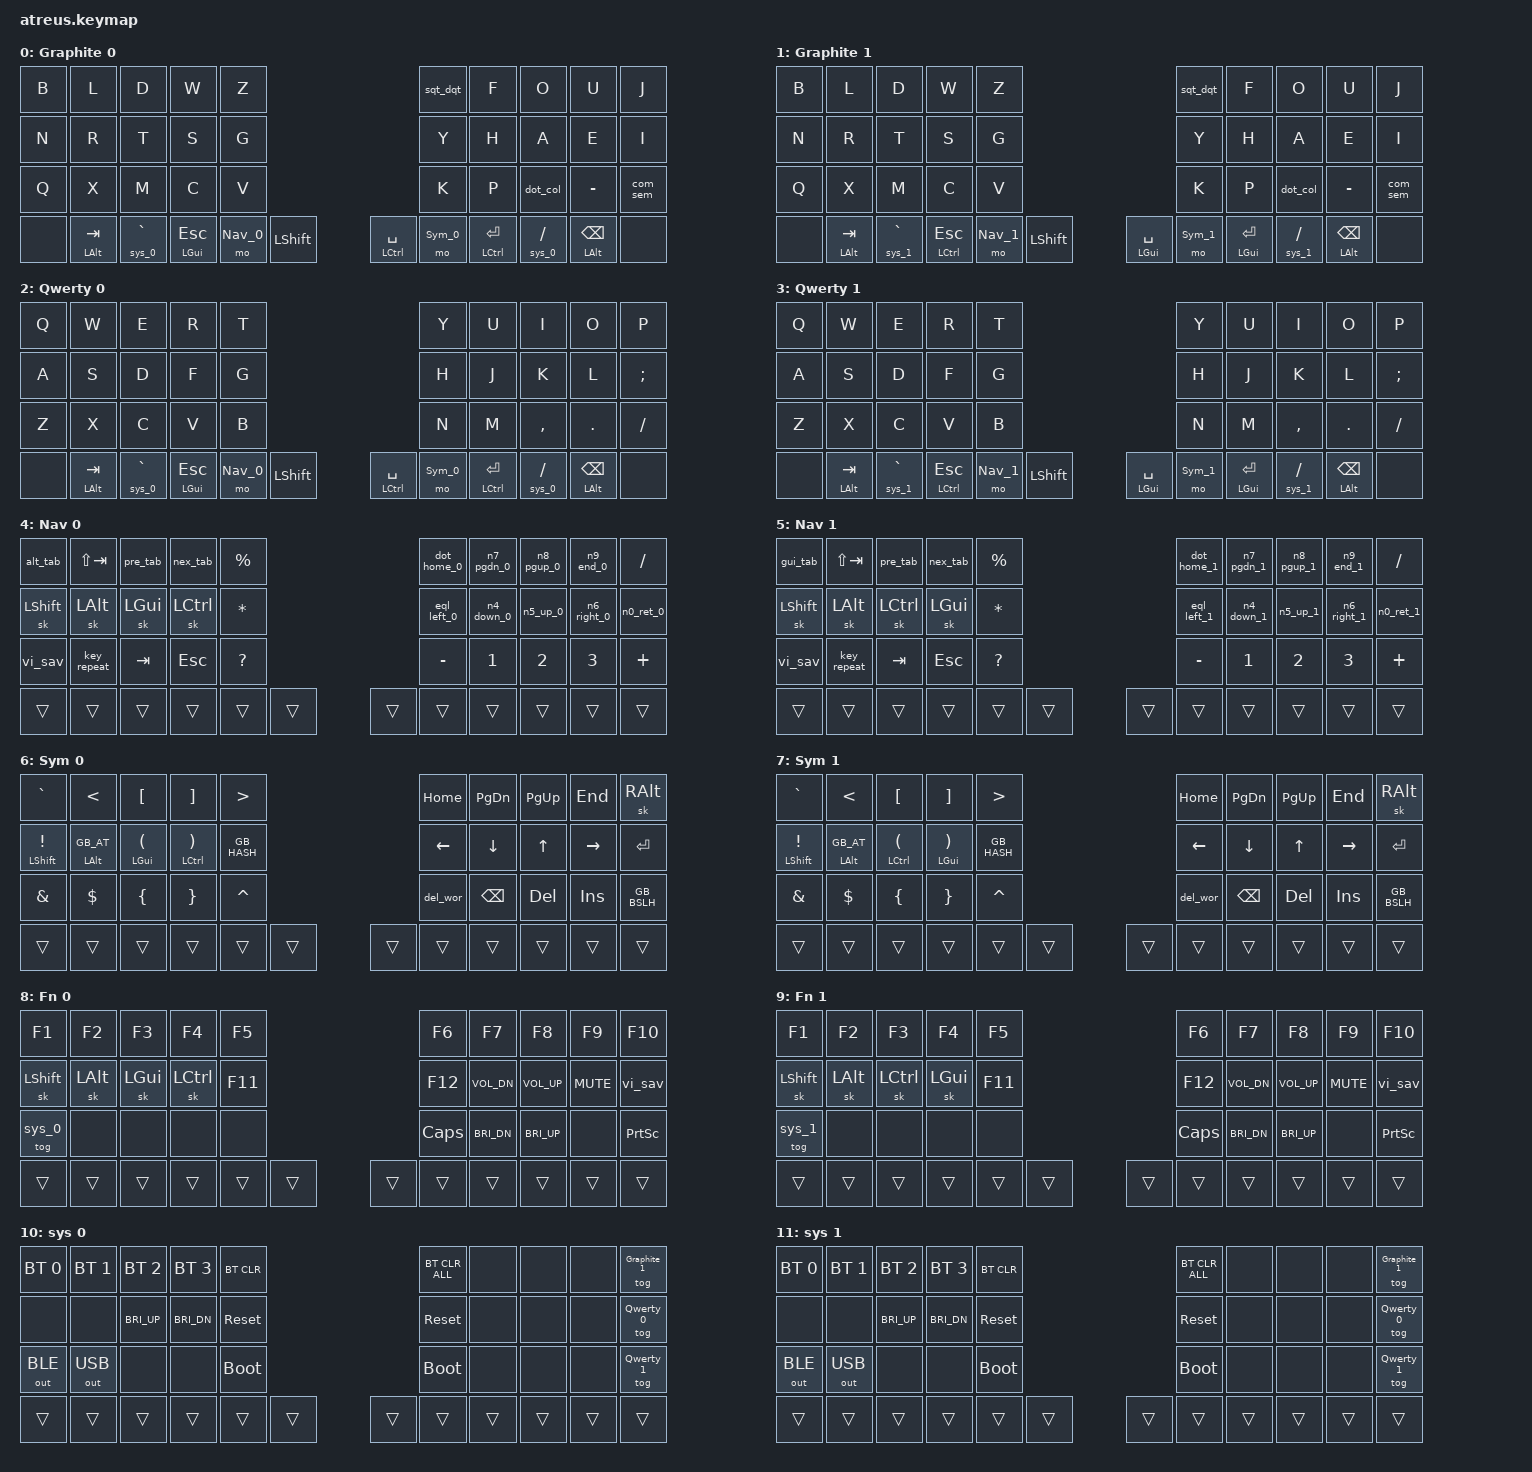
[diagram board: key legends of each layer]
// Auto-generated ZMK Keymap by Python generator system. DO NOT EDIT DIRECTLY.
#include <dt-bindings/zmk/keys.h>
#include <behaviors.dtsi>
#include <dt-bindings/zmk/bt.h>
#include <dt-bindings/zmk/outputs.h>
#include <zmk-helpers/helper.h>
#include "keys_en_gb_extended.h"

#define PRIOR_IDLE_MS 160
#define QUICK_TAP_MS 175
#define TAPPING_TERM 200

#undef COMBO_TERM
#define COMBO_TERM 50

#define KEYS_L 0 1 2 3 4 10 11 12 13 14 20 21 22 23 24
#define KEYS_R 5 6 7 8 9 15 16 17 18 19 25 26 27 28 29
#define THUMBS 30 31 32 33 34 35 36 37 38 39 40 41

/* Base Behavior Config */
&sk {
    release-after-ms = <1000>;
    quick-release;
};

&lt {
    tapping-term-ms = <TAPPING_TERM>;
    quick-tap-ms = <QUICK_TAP_MS>;
    flavor = "hold-preferred";
};

&mt {
    tapping-term-ms = <TAPPING_TERM>;
    quick-tap-ms = <QUICK_TAP_MS>;
    flavor = "hold-preferred";
};

&caps_word {
    continue-list = <UNDERSCORE MINUS BACKSPACE DELETE>;
    /delete-property/ ignore-modifiers;
};

/* Layer Ids */
#define Graphite_0 0
#define Graphite_1 1
#define Qwerty_0 2
#define Qwerty_1 3
#define Nav_0 4
#define Nav_1 5
#define Sym_0 6
#define Sym_1 7
#define Fn_0 8
#define Fn_1 9
#define sys_0 10
#define sys_1 11

/ {
    macros {
        uc_deg: uc_deg {
            compatible = "zmk,behavior-macro";
            #binding-cells = <0>;
            bindings = <&kp RALT>, <&kp O>, <&kp O>;
        };
        uc_gbp: uc_gbp {
            compatible = "zmk,behavior-macro";
            #binding-cells = <0>;
            bindings = <&kp RALT>, <&kp LS(L)>, <&kp EQL>;
        };
        uc_eur: uc_eur {
            compatible = "zmk,behavior-macro";
            #binding-cells = <0>;
            bindings = <&kp RALT>, <&kp C>, <&kp EQL>;
        };
        uc_rup: uc_rup {
            compatible = "zmk,behavior-macro";
            #binding-cells = <0>;
            bindings = <&kp RALT>, <&kp R>, <&kp EQL>;
        };
        vi_sav: vi_sav {
            compatible = "zmk,behavior-macro";
            #binding-cells = <0>;
            wait-ms = <20>;
            bindings = <&kp ESC>, <&kp COLON>, <&kp W>, <&kp RET>;
        };
        find: find {
            compatible = "zmk,behavior-macro";
            #binding-cells = <0>;
            bindings = <&kp LC(F)>;
        };
        pre_wor: pre_wor {
            compatible = "zmk,behavior-macro";
            #binding-cells = <0>;
            bindings = <&kp LC(LEFT)>;
        };
        nex_wor: nex_wor {
            compatible = "zmk,behavior-macro";
            #binding-cells = <0>;
            bindings = <&kp LC(RIGHT)>;
        };
        pre_tab: pre_tab {
            compatible = "zmk,behavior-macro";
            #binding-cells = <0>;
            bindings = <&kp LC(LS(TAB))>;
        };
        nex_tab: nex_tab {
            compatible = "zmk,behavior-macro";
            #binding-cells = <0>;
            bindings = <&kp LC(TAB)>;
        };
        pre_dsk: pre_dsk {
            compatible = "zmk,behavior-macro";
            #binding-cells = <0>;
            bindings = <&kp LC(LG(LEFT))>;
        };
        nex_dsk: nex_dsk {
            compatible = "zmk,behavior-macro";
            #binding-cells = <0>;
            bindings = <&kp LC(LG(RIGHT))>;
        };
        cut: cut {
            compatible = "zmk,behavior-macro";
            #binding-cells = <0>;
            bindings = <&kp LC(X)>;
        };
        copy: copy {
            compatible = "zmk,behavior-macro";
            #binding-cells = <0>;
            bindings = <&kp LC(C)>;
        };
        paste: paste {
            compatible = "zmk,behavior-macro";
            #binding-cells = <0>;
            bindings = <&kp LC(V)>;
        };
        half_dn: half_dn {
            compatible = "zmk,behavior-macro";
            #binding-cells = <0>;
            bindings = <&kp LC(D)>;
        };
        half_up: half_up {
            compatible = "zmk,behavior-macro";
            #binding-cells = <0>;
            bindings = <&kp LC(U)>;
        };
        del_wor: del_wor {
            compatible = "zmk,behavior-macro";
            #binding-cells = <0>;
            bindings = <&kp LC(BSPC)>;
        };
        macro_LCTL_Nav_0: macro_LCTL_Nav_0 {
            compatible = "zmk,behavior-macro";
            #binding-cells = <0>;
            wait-ms = <0>;
            tap-ms = <0>;
            bindings = <&macro_press &mo Nav_0>, <&macro_press &sk LCTL>, <&macro_pause_for_release>, <&macro_release &sk LCTL>, <&macro_release &mo Nav_0>;
        };
        macro_LGUI_Nav_1: macro_LGUI_Nav_1 {
            compatible = "zmk,behavior-macro";
            #binding-cells = <0>;
            wait-ms = <0>;
            tap-ms = <0>;
            bindings = <&macro_press &mo Nav_1>, <&macro_press &sk LGUI>, <&macro_pause_for_release>, <&macro_release &sk LGUI>, <&macro_release &mo Nav_1>;
        };
        macro_LGUI_Nav_0: macro_LGUI_Nav_0 {
            compatible = "zmk,behavior-macro";
            #binding-cells = <0>;
            wait-ms = <0>;
            tap-ms = <0>;
            bindings = <&macro_press &mo Nav_0>, <&macro_press &sk LGUI>, <&macro_pause_for_release>, <&macro_release &sk LGUI>, <&macro_release &mo Nav_0>;
        };
        macro_LCTL_Nav_1: macro_LCTL_Nav_1 {
            compatible = "zmk,behavior-macro";
            #binding-cells = <0>;
            wait-ms = <0>;
            tap-ms = <0>;
            bindings = <&macro_press &mo Nav_1>, <&macro_press &sk LCTL>, <&macro_pause_for_release>, <&macro_release &sk LCTL>, <&macro_release &mo Nav_1>;
        };
        macro_LALT_Nav_0: macro_LALT_Nav_0 {
            compatible = "zmk,behavior-macro";
            #binding-cells = <0>;
            wait-ms = <0>;
            tap-ms = <0>;
            bindings = <&macro_press &mo Nav_0>, <&macro_press &sk LALT>, <&macro_pause_for_release>, <&macro_release &sk LALT>, <&macro_release &mo Nav_0>;
        };
        macro_LALT_Nav_1: macro_LALT_Nav_1 {
            compatible = "zmk,behavior-macro";
            #binding-cells = <0>;
            wait-ms = <0>;
            tap-ms = <0>;
            bindings = <&macro_press &mo Nav_1>, <&macro_press &sk LALT>, <&macro_pause_for_release>, <&macro_release &sk LALT>, <&macro_release &mo Nav_1>;
        };
        macro_LSHFT_Nav_0: macro_LSHFT_Nav_0 {
            compatible = "zmk,behavior-macro";
            #binding-cells = <0>;
            wait-ms = <0>;
            tap-ms = <0>;
            bindings = <&macro_press &mo Nav_0>, <&macro_press &sk LSHFT>, <&macro_pause_for_release>, <&macro_release &sk LSHFT>, <&macro_release &mo Nav_0>;
        };
        macro_LSHFT_Nav_1: macro_LSHFT_Nav_1 {
            compatible = "zmk,behavior-macro";
            #binding-cells = <0>;
            wait-ms = <0>;
            tap-ms = <0>;
            bindings = <&macro_press &mo Nav_1>, <&macro_press &sk LSHFT>, <&macro_pause_for_release>, <&macro_release &sk LSHFT>, <&macro_release &mo Nav_1>;
        };
        macro_LGUI_LCTL_Nav_0: macro_LGUI_LCTL_Nav_0 {
            compatible = "zmk,behavior-macro";
            #binding-cells = <0>;
            wait-ms = <0>;
            tap-ms = <0>;
            bindings = <&macro_press &mo Nav_0>, <&macro_press &sk LGUI>, <&macro_press &sk LCTL>, <&macro_pause_for_release>, <&macro_release &sk LCTL>, <&macro_release &sk LGUI>, <&macro_release &mo Nav_0>;
        };
        macro_LCTL_LGUI_Nav_1: macro_LCTL_LGUI_Nav_1 {
            compatible = "zmk,behavior-macro";
            #binding-cells = <0>;
            wait-ms = <0>;
            tap-ms = <0>;
            bindings = <&macro_press &mo Nav_1>, <&macro_press &sk LCTL>, <&macro_press &sk LGUI>, <&macro_pause_for_release>, <&macro_release &sk LGUI>, <&macro_release &sk LCTL>, <&macro_release &mo Nav_1>;
        };
        macro_LGUI_LALT_Nav_0: macro_LGUI_LALT_Nav_0 {
            compatible = "zmk,behavior-macro";
            #binding-cells = <0>;
            wait-ms = <0>;
            tap-ms = <0>;
            bindings = <&macro_press &mo Nav_0>, <&macro_press &sk LGUI>, <&macro_press &sk LALT>, <&macro_pause_for_release>, <&macro_release &sk LALT>, <&macro_release &sk LGUI>, <&macro_release &mo Nav_0>;
        };
        macro_LCTL_LALT_Nav_1: macro_LCTL_LALT_Nav_1 {
            compatible = "zmk,behavior-macro";
            #binding-cells = <0>;
            wait-ms = <0>;
            tap-ms = <0>;
            bindings = <&macro_press &mo Nav_1>, <&macro_press &sk LCTL>, <&macro_press &sk LALT>, <&macro_pause_for_release>, <&macro_release &sk LALT>, <&macro_release &sk LCTL>, <&macro_release &mo Nav_1>;
        };
        macro_LGUI_LSHFT_Nav_0: macro_LGUI_LSHFT_Nav_0 {
            compatible = "zmk,behavior-macro";
            #binding-cells = <0>;
            wait-ms = <0>;
            tap-ms = <0>;
            bindings = <&macro_press &mo Nav_0>, <&macro_press &sk LGUI>, <&macro_press &sk LSHFT>, <&macro_pause_for_release>, <&macro_release &sk LSHFT>, <&macro_release &sk LGUI>, <&macro_release &mo Nav_0>;
        };
        macro_LCTL_LSHFT_Nav_1: macro_LCTL_LSHFT_Nav_1 {
            compatible = "zmk,behavior-macro";
            #binding-cells = <0>;
            wait-ms = <0>;
            tap-ms = <0>;
            bindings = <&macro_press &mo Nav_1>, <&macro_press &sk LCTL>, <&macro_press &sk LSHFT>, <&macro_pause_for_release>, <&macro_release &sk LSHFT>, <&macro_release &sk LCTL>, <&macro_release &mo Nav_1>;
        };
        macro_LCTL_LALT_Nav_0: macro_LCTL_LALT_Nav_0 {
            compatible = "zmk,behavior-macro";
            #binding-cells = <0>;
            wait-ms = <0>;
            tap-ms = <0>;
            bindings = <&macro_press &mo Nav_0>, <&macro_press &sk LCTL>, <&macro_press &sk LALT>, <&macro_pause_for_release>, <&macro_release &sk LALT>, <&macro_release &sk LCTL>, <&macro_release &mo Nav_0>;
        };
        macro_LGUI_LALT_Nav_1: macro_LGUI_LALT_Nav_1 {
            compatible = "zmk,behavior-macro";
            #binding-cells = <0>;
            wait-ms = <0>;
            tap-ms = <0>;
            bindings = <&macro_press &mo Nav_1>, <&macro_press &sk LGUI>, <&macro_press &sk LALT>, <&macro_pause_for_release>, <&macro_release &sk LALT>, <&macro_release &sk LGUI>, <&macro_release &mo Nav_1>;
        };
        macro_LCTL_LSHFT_Nav_0: macro_LCTL_LSHFT_Nav_0 {
            compatible = "zmk,behavior-macro";
            #binding-cells = <0>;
            wait-ms = <0>;
            tap-ms = <0>;
            bindings = <&macro_press &mo Nav_0>, <&macro_press &sk LCTL>, <&macro_press &sk LSHFT>, <&macro_pause_for_release>, <&macro_release &sk LSHFT>, <&macro_release &sk LCTL>, <&macro_release &mo Nav_0>;
        };
        macro_LGUI_LSHFT_Nav_1: macro_LGUI_LSHFT_Nav_1 {
            compatible = "zmk,behavior-macro";
            #binding-cells = <0>;
            wait-ms = <0>;
            tap-ms = <0>;
            bindings = <&macro_press &mo Nav_1>, <&macro_press &sk LGUI>, <&macro_press &sk LSHFT>, <&macro_pause_for_release>, <&macro_release &sk LSHFT>, <&macro_release &sk LGUI>, <&macro_release &mo Nav_1>;
        };
        macro_LCTL_Sym_0: macro_LCTL_Sym_0 {
            compatible = "zmk,behavior-macro";
            #binding-cells = <0>;
            wait-ms = <0>;
            tap-ms = <0>;
            bindings = <&macro_press &mo Sym_0>, <&macro_press &sk LCTL>, <&macro_pause_for_release>, <&macro_release &sk LCTL>, <&macro_release &mo Sym_0>;
        };
        macro_LGUI_Sym_1: macro_LGUI_Sym_1 {
            compatible = "zmk,behavior-macro";
            #binding-cells = <0>;
            wait-ms = <0>;
            tap-ms = <0>;
            bindings = <&macro_press &mo Sym_1>, <&macro_press &sk LGUI>, <&macro_pause_for_release>, <&macro_release &sk LGUI>, <&macro_release &mo Sym_1>;
        };
        macro_LGUI_Sym_0: macro_LGUI_Sym_0 {
            compatible = "zmk,behavior-macro";
            #binding-cells = <0>;
            wait-ms = <0>;
            tap-ms = <0>;
            bindings = <&macro_press &mo Sym_0>, <&macro_press &sk LGUI>, <&macro_pause_for_release>, <&macro_release &sk LGUI>, <&macro_release &mo Sym_0>;
        };
        macro_LCTL_Sym_1: macro_LCTL_Sym_1 {
            compatible = "zmk,behavior-macro";
            #binding-cells = <0>;
            wait-ms = <0>;
            tap-ms = <0>;
            bindings = <&macro_press &mo Sym_1>, <&macro_press &sk LCTL>, <&macro_pause_for_release>, <&macro_release &sk LCTL>, <&macro_release &mo Sym_1>;
        };
        macro_LALT_Sym_0: macro_LALT_Sym_0 {
            compatible = "zmk,behavior-macro";
            #binding-cells = <0>;
            wait-ms = <0>;
            tap-ms = <0>;
            bindings = <&macro_press &mo Sym_0>, <&macro_press &sk LALT>, <&macro_pause_for_release>, <&macro_release &sk LALT>, <&macro_release &mo Sym_0>;
        };
        macro_LALT_Sym_1: macro_LALT_Sym_1 {
            compatible = "zmk,behavior-macro";
            #binding-cells = <0>;
            wait-ms = <0>;
            tap-ms = <0>;
            bindings = <&macro_press &mo Sym_1>, <&macro_press &sk LALT>, <&macro_pause_for_release>, <&macro_release &sk LALT>, <&macro_release &mo Sym_1>;
        };
        macro_LSHFT_Sym_0: macro_LSHFT_Sym_0 {
            compatible = "zmk,behavior-macro";
            #binding-cells = <0>;
            wait-ms = <0>;
            tap-ms = <0>;
            bindings = <&macro_press &mo Sym_0>, <&macro_press &sk LSHFT>, <&macro_pause_for_release>, <&macro_release &sk LSHFT>, <&macro_release &mo Sym_0>;
        };
        macro_LSHFT_Sym_1: macro_LSHFT_Sym_1 {
            compatible = "zmk,behavior-macro";
            #binding-cells = <0>;
            wait-ms = <0>;
            tap-ms = <0>;
            bindings = <&macro_press &mo Sym_1>, <&macro_press &sk LSHFT>, <&macro_pause_for_release>, <&macro_release &sk LSHFT>, <&macro_release &mo Sym_1>;
        };
        macro_LGUI_LCTL_Sym_0: macro_LGUI_LCTL_Sym_0 {
            compatible = "zmk,behavior-macro";
            #binding-cells = <0>;
            wait-ms = <0>;
            tap-ms = <0>;
            bindings = <&macro_press &mo Sym_0>, <&macro_press &sk LGUI>, <&macro_press &sk LCTL>, <&macro_pause_for_release>, <&macro_release &sk LCTL>, <&macro_release &sk LGUI>, <&macro_release &mo Sym_0>;
        };
        macro_LCTL_LGUI_Sym_1: macro_LCTL_LGUI_Sym_1 {
            compatible = "zmk,behavior-macro";
            #binding-cells = <0>;
            wait-ms = <0>;
            tap-ms = <0>;
            bindings = <&macro_press &mo Sym_1>, <&macro_press &sk LCTL>, <&macro_press &sk LGUI>, <&macro_pause_for_release>, <&macro_release &sk LGUI>, <&macro_release &sk LCTL>, <&macro_release &mo Sym_1>;
        };
        macro_LGUI_LALT_Sym_0: macro_LGUI_LALT_Sym_0 {
            compatible = "zmk,behavior-macro";
            #binding-cells = <0>;
            wait-ms = <0>;
            tap-ms = <0>;
            bindings = <&macro_press &mo Sym_0>, <&macro_press &sk LGUI>, <&macro_press &sk LALT>, <&macro_pause_for_release>, <&macro_release &sk LALT>, <&macro_release &sk LGUI>, <&macro_release &mo Sym_0>;
        };
        macro_LCTL_LALT_Sym_1: macro_LCTL_LALT_Sym_1 {
            compatible = "zmk,behavior-macro";
            #binding-cells = <0>;
            wait-ms = <0>;
            tap-ms = <0>;
            bindings = <&macro_press &mo Sym_1>, <&macro_press &sk LCTL>, <&macro_press &sk LALT>, <&macro_pause_for_release>, <&macro_release &sk LALT>, <&macro_release &sk LCTL>, <&macro_release &mo Sym_1>;
        };
        macro_LGUI_LSHFT_Sym_0: macro_LGUI_LSHFT_Sym_0 {
            compatible = "zmk,behavior-macro";
            #binding-cells = <0>;
            wait-ms = <0>;
            tap-ms = <0>;
            bindings = <&macro_press &mo Sym_0>, <&macro_press &sk LGUI>, <&macro_press &sk LSHFT>, <&macro_pause_for_release>, <&macro_release &sk LSHFT>, <&macro_release &sk LGUI>, <&macro_release &mo Sym_0>;
        };
        macro_LCTL_LSHFT_Sym_1: macro_LCTL_LSHFT_Sym_1 {
            compatible = "zmk,behavior-macro";
            #binding-cells = <0>;
            wait-ms = <0>;
            tap-ms = <0>;
            bindings = <&macro_press &mo Sym_1>, <&macro_press &sk LCTL>, <&macro_press &sk LSHFT>, <&macro_pause_for_release>, <&macro_release &sk LSHFT>, <&macro_release &sk LCTL>, <&macro_release &mo Sym_1>;
        };
        macro_LCTL_LALT_Sym_0: macro_LCTL_LALT_Sym_0 {
            compatible = "zmk,behavior-macro";
            #binding-cells = <0>;
            wait-ms = <0>;
            tap-ms = <0>;
            bindings = <&macro_press &mo Sym_0>, <&macro_press &sk LCTL>, <&macro_press &sk LALT>, <&macro_pause_for_release>, <&macro_release &sk LALT>, <&macro_release &sk LCTL>, <&macro_release &mo Sym_0>;
        };
        macro_LGUI_LALT_Sym_1: macro_LGUI_LALT_Sym_1 {
            compatible = "zmk,behavior-macro";
            #binding-cells = <0>;
            wait-ms = <0>;
            tap-ms = <0>;
            bindings = <&macro_press &mo Sym_1>, <&macro_press &sk LGUI>, <&macro_press &sk LALT>, <&macro_pause_for_release>, <&macro_release &sk LALT>, <&macro_release &sk LGUI>, <&macro_release &mo Sym_1>;
        };
        macro_LCTL_LSHFT_Sym_0: macro_LCTL_LSHFT_Sym_0 {
            compatible = "zmk,behavior-macro";
            #binding-cells = <0>;
            wait-ms = <0>;
            tap-ms = <0>;
            bindings = <&macro_press &mo Sym_0>, <&macro_press &sk LCTL>, <&macro_press &sk LSHFT>, <&macro_pause_for_release>, <&macro_release &sk LSHFT>, <&macro_release &sk LCTL>, <&macro_release &mo Sym_0>;
        };
        macro_LGUI_LSHFT_Sym_1: macro_LGUI_LSHFT_Sym_1 {
            compatible = "zmk,behavior-macro";
            #binding-cells = <0>;
            wait-ms = <0>;
            tap-ms = <0>;
            bindings = <&macro_press &mo Sym_1>, <&macro_press &sk LGUI>, <&macro_press &sk LSHFT>, <&macro_pause_for_release>, <&macro_release &sk LSHFT>, <&macro_release &sk LGUI>, <&macro_release &mo Sym_1>;
        };
    };

    behaviors {
        hrm_l: hrm_l {
            compatible = "zmk,behavior-hold-tap";
            #binding-cells = <2>;
            flavor = "tap-preferred";
            tapping-term-ms = <TAPPING_TERM>;
            quick-tap-ms = <QUICK_TAP_MS>;
            require-prior-idle-ms = <PRIOR_IDLE_MS>;
            bindings = <&kp>, <&kp>;
            hold-trigger-key-positions = <KEYS_R THUMBS>;
        };
        hrm_r: hrm_r {
            compatible = "zmk,behavior-hold-tap";
            #binding-cells = <2>;
            flavor = "tap-preferred";
            tapping-term-ms = <TAPPING_TERM>;
            quick-tap-ms = <QUICK_TAP_MS>;
            require-prior-idle-ms = <PRIOR_IDLE_MS>;
            bindings = <&kp>, <&kp>;
            hold-trigger-key-positions = <KEYS_L THUMBS>;
        };
        hrl_l: hrl_l {
            compatible = "zmk,behavior-hold-tap";
            #binding-cells = <2>;
            flavor = "tap-preferred";
            tapping-term-ms = <TAPPING_TERM>;
            quick-tap-ms = <QUICK_TAP_MS>;
            require-prior-idle-ms = <PRIOR_IDLE_MS>;
            bindings = <&mo>, <&kp>;
            hold-trigger-key-positions = <KEYS_R THUMBS>;
        };
        hrl_r: hrl_r {
            compatible = "zmk,behavior-hold-tap";
            #binding-cells = <2>;
            flavor = "tap-preferred";
            tapping-term-ms = <TAPPING_TERM>;
            quick-tap-ms = <QUICK_TAP_MS>;
            require-prior-idle-ms = <PRIOR_IDLE_MS>;
            bindings = <&mo>, <&kp>;
            hold-trigger-key-positions = <KEYS_L THUMBS>;
        };
        thm: thm {
            compatible = "zmk,behavior-hold-tap";
            #binding-cells = <2>;
            flavor = "tap-preferred";
            tapping-term-ms = <TAPPING_TERM>;
            quick-tap-ms = <QUICK_TAP_MS>;
            require-prior-idle-ms = <PRIOR_IDLE_MS>;
            bindings = <&kp>, <&kp>;
            hold-trigger-key-positions = <KEYS_L KEYS_R THUMBS>;
        };
        thl: thl {
            compatible = "zmk,behavior-hold-tap";
            #binding-cells = <2>;
            flavor = "tap-preferred";
            tapping-term-ms = <TAPPING_TERM>;
            quick-tap-ms = <QUICK_TAP_MS>;
            require-prior-idle-ms = <PRIOR_IDLE_MS>;
            bindings = <&mo>, <&kp>;
            hold-trigger-key-positions = <KEYS_L KEYS_R THUMBS>;
        };
        kt_off: kt_off {
            compatible = "zmk,behavior-key-toggle";
            #binding-cells = <1>;
            toggle-mode = "off";
        };
        kt_on: kt_on {
            compatible = "zmk,behavior-key-toggle";
            #binding-cells = <1>;
            toggle-mode = "on";
        };
        bsdel_0: bsdel_0 {
            compatible = "zmk,behavior-mod-morph";
            #binding-cells = <0>;
            bindings = <&kp BACKSPACE>, <&kp DELETE>;
            mods = <(MOD_LALT|MOD_LGUI|MOD_LSFT)>;
        };
        bsdel_1: bsdel_1 {
            compatible = "zmk,behavior-mod-morph";
            #binding-cells = <0>;
            bindings = <&kp BACKSPACE>, <&kp DELETE>;
            mods = <(MOD_LALT|MOD_LCTL|MOD_LSFT)>;
        };
        dlr_gbp: dlr_gbp {
            compatible = "zmk,behavior-mod-morph";
            #binding-cells = <0>;
            bindings = <&kp DLLR>, <&uc_gbp>;
            mods = <(MOD_LSFT|MOD_RSFT)>;
        };
        amps_eur: amps_eur {
            compatible = "zmk,behavior-mod-morph";
            #binding-cells = <0>;
            bindings = <&kp AMPS>, <&uc_eur>;
            mods = <(MOD_LSFT|MOD_RSFT)>;
        };
        star_rup: star_rup {
            compatible = "zmk,behavior-mod-morph";
            #binding-cells = <0>;
            bindings = <&kp STAR>, <&uc_rup>;
            mods = <(MOD_LSFT|MOD_RSFT)>;
        };
        dot_col: dot_col {
            compatible = "zmk,behavior-mod-morph";
            #binding-cells = <0>;
            bindings = <&kp DOT>, <&kp COLON>;
            mods = <(MOD_LSFT)>;
        };
        com_sem: com_sem {
            compatible = "zmk,behavior-mod-morph";
            #binding-cells = <0>;
            bindings = <&kp COMMA>, <&kp SEMICOLON>;
            mods = <(MOD_LSFT)>;
        };
        sqt_dqt: sqt_dqt {
            compatible = "zmk,behavior-mod-morph";
            #binding-cells = <0>;
            bindings = <&kp SQT>, <&kp GB_DQT>;
            mods = <(MOD_LSFT)>;
        };
        lpar_lt: lpar_lt {
            compatible = "zmk,behavior-mod-morph";
            #binding-cells = <0>;
            bindings = <&kp LPAR>, <&kp LT>;
            mods = <(MOD_LSFT)>;
        };
        rpar_gt: rpar_gt {
            compatible = "zmk,behavior-mod-morph";
            #binding-cells = <0>;
            bindings = <&kp RPAR>, <&kp GT>;
            mods = <(MOD_LSFT)>;
        };
        eql_left_0: eql_left_0 {
            compatible = "zmk,behavior-mod-morph";
            #binding-cells = <0>;
            bindings = <&kp EQUAL>, <&kp LEFT>;
            mods = <(MOD_LGUI|MOD_LALT)>;
            keep-mods = <(MOD_LGUI|MOD_LALT)>;
        };
        eql_left_1: eql_left_1 {
            compatible = "zmk,behavior-mod-morph";
            #binding-cells = <0>;
            bindings = <&kp EQUAL>, <&kp LEFT>;
            mods = <(MOD_LCTL|MOD_LALT)>;
            keep-mods = <(MOD_LCTL|MOD_LALT)>;
        };
        n4_down_0: n4_down_0 {
            compatible = "zmk,behavior-mod-morph";
            #binding-cells = <0>;
            bindings = <&kp N4>, <&kp DOWN>;
            mods = <(MOD_LGUI|MOD_LALT)>;
            keep-mods = <(MOD_LGUI|MOD_LALT)>;
        };
        n4_down_1: n4_down_1 {
            compatible = "zmk,behavior-mod-morph";
            #binding-cells = <0>;
            bindings = <&kp N4>, <&kp DOWN>;
            mods = <(MOD_LCTL|MOD_LALT)>;
            keep-mods = <(MOD_LCTL|MOD_LALT)>;
        };
        n5_up_0: n5_up_0 {
            compatible = "zmk,behavior-mod-morph";
            #binding-cells = <0>;
            bindings = <&kp N5>, <&kp UP>;
            mods = <(MOD_LGUI|MOD_LALT)>;
            keep-mods = <(MOD_LGUI|MOD_LALT)>;
        };
        n5_up_1: n5_up_1 {
            compatible = "zmk,behavior-mod-morph";
            #binding-cells = <0>;
            bindings = <&kp N5>, <&kp UP>;
            mods = <(MOD_LCTL|MOD_LALT)>;
            keep-mods = <(MOD_LCTL|MOD_LALT)>;
        };
        n6_right_0: n6_right_0 {
            compatible = "zmk,behavior-mod-morph";
            #binding-cells = <0>;
            bindings = <&kp N6>, <&kp RIGHT>;
            mods = <(MOD_LGUI|MOD_LALT)>;
            keep-mods = <(MOD_LGUI|MOD_LALT)>;
        };
        n6_right_1: n6_right_1 {
            compatible = "zmk,behavior-mod-morph";
            #binding-cells = <0>;
            bindings = <&kp N6>, <&kp RIGHT>;
            mods = <(MOD_LCTL|MOD_LALT)>;
            keep-mods = <(MOD_LCTL|MOD_LALT)>;
        };
        n0_ret_0: n0_ret_0 {
            compatible = "zmk,behavior-mod-morph";
            #binding-cells = <0>;
            bindings = <&kp N0>, <&kp RET>;
            mods = <(MOD_LGUI|MOD_LALT)>;
            keep-mods = <(MOD_LGUI|MOD_LALT)>;
        };
        n0_ret_1: n0_ret_1 {
            compatible = "zmk,behavior-mod-morph";
            #binding-cells = <0>;
            bindings = <&kp N0>, <&kp RET>;
            mods = <(MOD_LCTL|MOD_LALT)>;
            keep-mods = <(MOD_LCTL|MOD_LALT)>;
        };
        n7_pgdn_0: n7_pgdn_0 {
            compatible = "zmk,behavior-mod-morph";
            #binding-cells = <0>;
            bindings = <&kp N7>, <&kp PG_DN>;
            mods = <(MOD_LGUI|MOD_LALT)>;
            keep-mods = <(MOD_LGUI|MOD_LALT)>;
        };
        n7_pgdn_1: n7_pgdn_1 {
            compatible = "zmk,behavior-mod-morph";
            #binding-cells = <0>;
            bindings = <&kp N7>, <&kp PG_DN>;
            mods = <(MOD_LCTL|MOD_LALT)>;
            keep-mods = <(MOD_LCTL|MOD_LALT)>;
        };
        n8_pgup_0: n8_pgup_0 {
            compatible = "zmk,behavior-mod-morph";
            #binding-cells = <0>;
            bindings = <&kp N8>, <&kp PG_UP>;
            mods = <(MOD_LGUI|MOD_LALT)>;
            keep-mods = <(MOD_LGUI|MOD_LALT)>;
        };
        n8_pgup_1: n8_pgup_1 {
            compatible = "zmk,behavior-mod-morph";
            #binding-cells = <0>;
            bindings = <&kp N8>, <&kp PG_UP>;
            mods = <(MOD_LCTL|MOD_LALT)>;
            keep-mods = <(MOD_LCTL|MOD_LALT)>;
        };
        dot_home_0: dot_home_0 {
            compatible = "zmk,behavior-mod-morph";
            #binding-cells = <0>;
            bindings = <&kp DOT>, <&kp HOME>;
            mods = <(MOD_LGUI|MOD_LALT)>;
            keep-mods = <(MOD_LGUI|MOD_LALT)>;
        };
        dot_home_1: dot_home_1 {
            compatible = "zmk,behavior-mod-morph";
            #binding-cells = <0>;
            bindings = <&kp DOT>, <&kp HOME>;
            mods = <(MOD_LCTL|MOD_LALT)>;
            keep-mods = <(MOD_LCTL|MOD_LALT)>;
        };
        n9_end_0: n9_end_0 {
            compatible = "zmk,behavior-mod-morph";
            #binding-cells = <0>;
            bindings = <&kp N9>, <&kp END>;
            mods = <(MOD_LGUI|MOD_LALT)>;
            keep-mods = <(MOD_LGUI|MOD_LALT)>;
        };
        n9_end_1: n9_end_1 {
            compatible = "zmk,behavior-mod-morph";
            #binding-cells = <0>;
            bindings = <&kp N9>, <&kp END>;
            mods = <(MOD_LCTL|MOD_LALT)>;
            keep-mods = <(MOD_LCTL|MOD_LALT)>;
        };
        alt_tab: alt_tab {
            compatible = "zmk,behavior-tri-state";
            #binding-cells = <0>;
            bindings = <&kt_on LALT>, <&kp TAB>, <&kt_off LALT>;
            ignored-key-positions = <1>;
        };
        ctl_tab: ctl_tab {
            compatible = "zmk,behavior-tri-state";
            #binding-cells = <0>;
            bindings = <&kt_on LCTL>, <&kp TAB>, <&kt_off LCTL>;
            ignored-key-positions = <1>;
        };
        gui_tab: gui_tab {
            compatible = "zmk,behavior-tri-state";
            #binding-cells = <0>;
            bindings = <&kt_on LGUI>, <&kp TAB>, <&kt_off LGUI>;
            ignored-key-positions = <1>;
        };
    };

    combos {
        compatible = "zmk,combos";
        combo_degree {
            timeout-ms = <COMBO_TERM>;
            key-positions = <0 10>;
            bindings = <&uc_deg>;
        };
        combo_bootloader {
            timeout-ms = <COMBO_TERM>;
            key-positions = <4 3 6 5>;
            bindings = <&bootloader>;
        };
        combo_reset {
            timeout-ms = <COMBO_TERM>;
            key-positions = <4 5>;
            bindings = <&sys_reset>;
        };
        combo_LCTL_Nav_0 {
            timeout-ms = <COMBO_TERM>;
            key-positions = <34 13>;
            bindings = <&macro_LCTL_Nav_0>;
            slow-release;
        };
        combo_LGUI_Nav_1 {
            timeout-ms = <COMBO_TERM>;
            key-positions = <34 13>;
            bindings = <&macro_LGUI_Nav_1>;
            slow-release;
        };
        combo_LGUI_Nav_0 {
            timeout-ms = <COMBO_TERM>;
            key-positions = <34 12>;
            bindings = <&macro_LGUI_Nav_0>;
            slow-release;
        };
        combo_LCTL_Nav_1 {
            timeout-ms = <COMBO_TERM>;
            key-positions = <34 12>;
            bindings = <&macro_LCTL_Nav_1>;
            slow-release;
        };
        combo_LALT_Nav_0 {
            timeout-ms = <COMBO_TERM>;
            key-positions = <34 11>;
            bindings = <&macro_LALT_Nav_0>;
            slow-release;
        };
        combo_LALT_Nav_1 {
            timeout-ms = <COMBO_TERM>;
            key-positions = <34 11>;
            bindings = <&macro_LALT_Nav_1>;
            slow-release;
        };
        combo_LSHFT_Nav_0 {
            timeout-ms = <COMBO_TERM>;
            key-positions = <34 10>;
            bindings = <&macro_LSHFT_Nav_0>;
            slow-release;
        };
        combo_LSHFT_Nav_1 {
            timeout-ms = <COMBO_TERM>;
            key-positions = <34 10>;
            bindings = <&macro_LSHFT_Nav_1>;
            slow-release;
        };
        combo_LGUI_LCTL_Nav_0 {
            timeout-ms = <COMBO_TERM>;
            key-positions = <34 12 13>;
            bindings = <&macro_LGUI_LCTL_Nav_0>;
            slow-release;
        };
        combo_LCTL_LGUI_Nav_1 {
            timeout-ms = <COMBO_TERM>;
            key-positions = <34 12 13>;
            bindings = <&macro_LCTL_LGUI_Nav_1>;
            slow-release;
        };
        combo_LGUI_LALT_Nav_0 {
            timeout-ms = <COMBO_TERM>;
            key-positions = <34 12 11>;
            bindings = <&macro_LGUI_LALT_Nav_0>;
            slow-release;
        };
        combo_LCTL_LALT_Nav_1 {
            timeout-ms = <COMBO_TERM>;
            key-positions = <34 12 11>;
            bindings = <&macro_LCTL_LALT_Nav_1>;
            slow-release;
        };
        combo_LGUI_LSHFT_Nav_0 {
            timeout-ms = <COMBO_TERM>;
            key-positions = <34 12 10>;
            bindings = <&macro_LGUI_LSHFT_Nav_0>;
            slow-release;
        };
        combo_LCTL_LSHFT_Nav_1 {
            timeout-ms = <COMBO_TERM>;
            key-positions = <34 12 10>;
            bindings = <&macro_LCTL_LSHFT_Nav_1>;
            slow-release;
        };
        combo_LCTL_LALT_Nav_0 {
            timeout-ms = <COMBO_TERM>;
            key-positions = <34 13 11>;
            bindings = <&macro_LCTL_LALT_Nav_0>;
            slow-release;
        };
        combo_LGUI_LALT_Nav_1 {
            timeout-ms = <COMBO_TERM>;
            key-positions = <34 13 11>;
            bindings = <&macro_LGUI_LALT_Nav_1>;
            slow-release;
        };
        combo_LCTL_LSHFT_Nav_0 {
            timeout-ms = <COMBO_TERM>;
            key-positions = <34 13 10>;
            bindings = <&macro_LCTL_LSHFT_Nav_0>;
            slow-release;
        };
        combo_LGUI_LSHFT_Nav_1 {
            timeout-ms = <COMBO_TERM>;
            key-positions = <34 13 10>;
            bindings = <&macro_LGUI_LSHFT_Nav_1>;
            slow-release;
        };
        combo_LCTL_Sym_0 {
            timeout-ms = <COMBO_TERM>;
            key-positions = <37 13>;
            bindings = <&macro_LCTL_Sym_0>;
            slow-release;
        };
        combo_LGUI_Sym_1 {
            timeout-ms = <COMBO_TERM>;
            key-positions = <37 13>;
            bindings = <&macro_LGUI_Sym_1>;
            slow-release;
        };
        combo_LGUI_Sym_0 {
            timeout-ms = <COMBO_TERM>;
            key-positions = <37 12>;
            bindings = <&macro_LGUI_Sym_0>;
            slow-release;
        };
        combo_LCTL_Sym_1 {
            timeout-ms = <COMBO_TERM>;
            key-positions = <37 12>;
            bindings = <&macro_LCTL_Sym_1>;
            slow-release;
        };
        combo_LALT_Sym_0 {
            timeout-ms = <COMBO_TERM>;
            key-positions = <37 11>;
            bindings = <&macro_LALT_Sym_0>;
            slow-release;
        };
        combo_LALT_Sym_1 {
            timeout-ms = <COMBO_TERM>;
            key-positions = <37 11>;
            bindings = <&macro_LALT_Sym_1>;
            slow-release;
        };
        combo_LSHFT_Sym_0 {
            timeout-ms = <COMBO_TERM>;
            key-positions = <37 10>;
            bindings = <&macro_LSHFT_Sym_0>;
            slow-release;
        };
        combo_LSHFT_Sym_1 {
            timeout-ms = <COMBO_TERM>;
            key-positions = <37 10>;
            bindings = <&macro_LSHFT_Sym_1>;
            slow-release;
        };
        combo_LGUI_LCTL_Sym_0 {
            timeout-ms = <COMBO_TERM>;
            key-positions = <37 12 13>;
            bindings = <&macro_LGUI_LCTL_Sym_0>;
            slow-release;
        };
        combo_LCTL_LGUI_Sym_1 {
            timeout-ms = <COMBO_TERM>;
            key-positions = <37 12 13>;
            bindings = <&macro_LCTL_LGUI_Sym_1>;
            slow-release;
        };
        combo_LGUI_LALT_Sym_0 {
            timeout-ms = <COMBO_TERM>;
            key-positions = <37 12 11>;
            bindings = <&macro_LGUI_LALT_Sym_0>;
            slow-release;
        };
        combo_LCTL_LALT_Sym_1 {
            timeout-ms = <COMBO_TERM>;
            key-positions = <37 12 11>;
            bindings = <&macro_LCTL_LALT_Sym_1>;
            slow-release;
        };
        combo_LGUI_LSHFT_Sym_0 {
            timeout-ms = <COMBO_TERM>;
            key-positions = <37 12 10>;
            bindings = <&macro_LGUI_LSHFT_Sym_0>;
            slow-release;
        };
        combo_LCTL_LSHFT_Sym_1 {
            timeout-ms = <COMBO_TERM>;
            key-positions = <37 12 10>;
            bindings = <&macro_LCTL_LSHFT_Sym_1>;
            slow-release;
        };
        combo_LCTL_LALT_Sym_0 {
            timeout-ms = <COMBO_TERM>;
            key-positions = <37 13 11>;
            bindings = <&macro_LCTL_LALT_Sym_0>;
            slow-release;
        };
        combo_LGUI_LALT_Sym_1 {
            timeout-ms = <COMBO_TERM>;
            key-positions = <37 13 11>;
            bindings = <&macro_LGUI_LALT_Sym_1>;
            slow-release;
        };
        combo_LCTL_LSHFT_Sym_0 {
            timeout-ms = <COMBO_TERM>;
            key-positions = <37 13 10>;
            bindings = <&macro_LCTL_LSHFT_Sym_0>;
            slow-release;
        };
        combo_LGUI_LSHFT_Sym_1 {
            timeout-ms = <COMBO_TERM>;
            key-positions = <37 13 10>;
            bindings = <&macro_LGUI_LSHFT_Sym_1>;
            slow-release;
        };
    };

    conditional_layers {
        compatible = "zmk,conditional-layers";
        tri_layer_Fn_0 {
            if-layers = <Nav_0 Sym_0>;
            then-layer = <Fn_0>;
        };
        tri_layer_Fn_1 {
            if-layers = <Nav_1 Sym_1>;
            then-layer = <Fn_1>;
        };
    };

    keymap {
        compatible = "zmk,keymap";

        Graphite_0 {
            display-name = "Graphite 0";
            bindings = <
                &kp B &kp L &kp D &kp W &kp Z /**/ &sqt_dqt &kp F &kp O &kp U &kp J
                &kp N &kp R &kp T &kp S &kp G /**/ &kp Y &kp H &kp A &kp E &kp I
                &kp Q &kp X &kp M &kp C &kp V /**/ &kp K &kp P &dot_col &kp MINUS &com_sem
                &none &mt LALT TAB &lt sys_0 GRAVE &mt LGUI ESC &mo Nav_0 &kp LSHFT /**/ &thm LCTL SPACE &mo Sym_0 &mt LCTL RET &lt sys_0 FSLH &mt LALT BSPC &none
            >;
        };
        Graphite_1 {
            display-name = "Graphite 1";
            bindings = <
                &kp B &kp L &kp D &kp W &kp Z /**/ &sqt_dqt &kp F &kp O &kp U &kp J
                &kp N &kp R &kp T &kp S &kp G /**/ &kp Y &kp H &kp A &kp E &kp I
                &kp Q &kp X &kp M &kp C &kp V /**/ &kp K &kp P &dot_col &kp MINUS &com_sem
                &none &mt LALT TAB &lt sys_1 GRAVE &mt LCTL ESC &mo Nav_1 &kp LSHFT /**/ &thm LGUI SPACE &mo Sym_1 &mt LGUI RET &lt sys_1 FSLH &mt LALT BSPC &none
            >;
        };
        Qwerty_0 {
            display-name = "Qwerty 0";
            bindings = <
                &kp Q &kp W &kp E &kp R &kp T /**/ &kp Y &kp U &kp I &kp O &kp P
                &kp A &kp S &kp D &kp F &kp G /**/ &kp H &kp J &kp K &kp L &kp SEMI
                &kp Z &kp X &kp C &kp V &kp B /**/ &kp N &kp M &kp COMMA &kp DOT &kp FSLH
                &none &mt LALT TAB &lt sys_0 GRAVE &mt LGUI ESC &mo Nav_0 &kp LSHFT /**/ &thm LCTL SPACE &mo Sym_0 &mt LCTL RET &lt sys_0 FSLH &mt LALT BSPC &none
            >;
        };
        Qwerty_1 {
            display-name = "Qwerty 1";
            bindings = <
                &kp Q &kp W &kp E &kp R &kp T /**/ &kp Y &kp U &kp I &kp O &kp P
                &kp A &kp S &kp D &kp F &kp G /**/ &kp H &kp J &kp K &kp L &kp SEMI
                &kp Z &kp X &kp C &kp V &kp B /**/ &kp N &kp M &kp COMMA &kp DOT &kp FSLH
                &none &mt LALT TAB &lt sys_1 GRAVE &mt LCTL ESC &mo Nav_1 &kp LSHFT /**/ &thm LGUI SPACE &mo Sym_1 &mt LGUI RET &lt sys_1 FSLH &mt LALT BSPC &none
            >;
        };
        Nav_0 {
            display-name = "Nav 0";
            bindings = <
                &alt_tab &kp LS(TAB) &pre_tab &nex_tab &kp PRCNT /**/ &dot_home_0 &n7_pgdn_0 &n8_pgup_0 &n9_end_0 &kp FSLH
                &sk LSHFT &sk LALT &sk LGUI &sk LCTL &kp STAR /**/ &eql_left_0 &n4_down_0 &n5_up_0 &n6_right_0 &n0_ret_0
                &vi_sav &key_repeat &kp TAB &kp ESC &kp QMARK /**/ &kp MINUS &kp N1 &kp N2 &kp N3 &kp PLUS
                &trans &trans &trans &trans &trans &trans /**/ &trans &trans &trans &trans &trans &trans
            >;
        };
        Nav_1 {
            display-name = "Nav 1";
            bindings = <
                &gui_tab &kp LS(TAB) &pre_tab &nex_tab &kp PRCNT /**/ &dot_home_1 &n7_pgdn_1 &n8_pgup_1 &n9_end_1 &kp FSLH
                &sk LSHFT &sk LALT &sk LCTL &sk LGUI &kp STAR /**/ &eql_left_1 &n4_down_1 &n5_up_1 &n6_right_1 &n0_ret_1
                &vi_sav &key_repeat &kp TAB &kp ESC &kp QMARK /**/ &kp MINUS &kp N1 &kp N2 &kp N3 &kp PLUS
                &trans &trans &trans &trans &trans &trans /**/ &trans &trans &trans &trans &trans &trans
            >;
        };
        Sym_0 {
            display-name = "Sym 0";
            bindings = <
                &kp GRAVE &kp LT &kp LBKT &kp RBKT &kp GT /**/ &kp HOME &kp PG_DN &kp PG_UP &kp END &sk RALT
                &hrm_l LSHFT EXCL &hrm_l LALT GB_AT &hrm_l LGUI LPAR &hrm_l LCTL RPAR &kp GB_HASH /**/ &kp LEFT &kp DOWN &kp UP &kp RIGHT &kp RET
                &kp AMPS &kp DLLR &kp LBRC &kp RBRC &kp CARET /**/ &del_wor &kp BSPC &kp DEL &kp INS &kp GB_BSLH
                &trans &trans &trans &trans &trans &trans /**/ &trans &trans &trans &trans &trans &trans
            >;
        };
        Sym_1 {
            display-name = "Sym 1";
            bindings = <
                &kp GRAVE &kp LT &kp LBKT &kp RBKT &kp GT /**/ &kp HOME &kp PG_DN &kp PG_UP &kp END &sk RALT
                &hrm_l LSHFT EXCL &hrm_l LALT GB_AT &hrm_l LCTL LPAR &hrm_l LGUI RPAR &kp GB_HASH /**/ &kp LEFT &kp DOWN &kp UP &kp RIGHT &kp RET
                &kp AMPS &kp DLLR &kp LBRC &kp RBRC &kp CARET /**/ &del_wor &kp BSPC &kp DEL &kp INS &kp GB_BSLH
                &trans &trans &trans &trans &trans &trans /**/ &trans &trans &trans &trans &trans &trans
            >;
        };
        Fn_0 {
            display-name = "Fn 0";
            bindings = <
                &kp F1 &kp F2 &kp F3 &kp F4 &kp F5 /**/ &kp F6 &kp F7 &kp F8 &kp F9 &kp F10
                &sk LSHFT &sk LALT &sk LGUI &sk LCTL &kp F11 /**/ &kp F12 &kp C_VOL_DN &kp C_VOL_UP &kp C_MUTE &vi_sav
                &tog sys_0 &none &none &none &none /**/ &kp CAPS &kp C_BRI_DN &kp C_BRI_UP &none &kp PSCRN
                &trans &trans &trans &trans &trans &trans /**/ &trans &trans &trans &trans &trans &trans
            >;
        };
        Fn_1 {
            display-name = "Fn 1";
            bindings = <
                &kp F1 &kp F2 &kp F3 &kp F4 &kp F5 /**/ &kp F6 &kp F7 &kp F8 &kp F9 &kp F10
                &sk LSHFT &sk LALT &sk LCTL &sk LGUI &kp F11 /**/ &kp F12 &kp C_VOL_DN &kp C_VOL_UP &kp C_MUTE &vi_sav
                &tog sys_1 &none &none &none &none /**/ &kp CAPS &kp C_BRI_DN &kp C_BRI_UP &none &kp PSCRN
                &trans &trans &trans &trans &trans &trans /**/ &trans &trans &trans &trans &trans &trans
            >;
        };
        sys_0 {
            display-name = "sys 0";
            bindings = <
                &bt BT_SEL 0 &bt BT_SEL 1 &bt BT_SEL 2 &bt BT_SEL 3 &bt BT_CLR /**/ &bt BT_CLR_ALL &none &none &none &tog Graphite_1
                &none &none &kp C_BRI_UP &kp C_BRI_DN &sys_reset /**/ &sys_reset &none &none &none &tog Qwerty_0
                &out OUT_BLE &out OUT_USB &none &none &bootloader /**/ &bootloader &none &none &none &tog Qwerty_1
                &trans &trans &trans &trans &trans &trans /**/ &trans &trans &trans &trans &trans &trans
            >;
        };
        sys_1 {
            display-name = "sys 1";
            bindings = <
                &bt BT_SEL 0 &bt BT_SEL 1 &bt BT_SEL 2 &bt BT_SEL 3 &bt BT_CLR /**/ &bt BT_CLR_ALL &none &none &none &tog Graphite_1
                &none &none &kp C_BRI_UP &kp C_BRI_DN &sys_reset /**/ &sys_reset &none &none &none &tog Qwerty_0
                &out OUT_BLE &out OUT_USB &none &none &bootloader /**/ &bootloader &none &none &none &tog Qwerty_1
                &trans &trans &trans &trans &trans &trans /**/ &trans &trans &trans &trans &trans &trans
            >;
        };
    };
};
